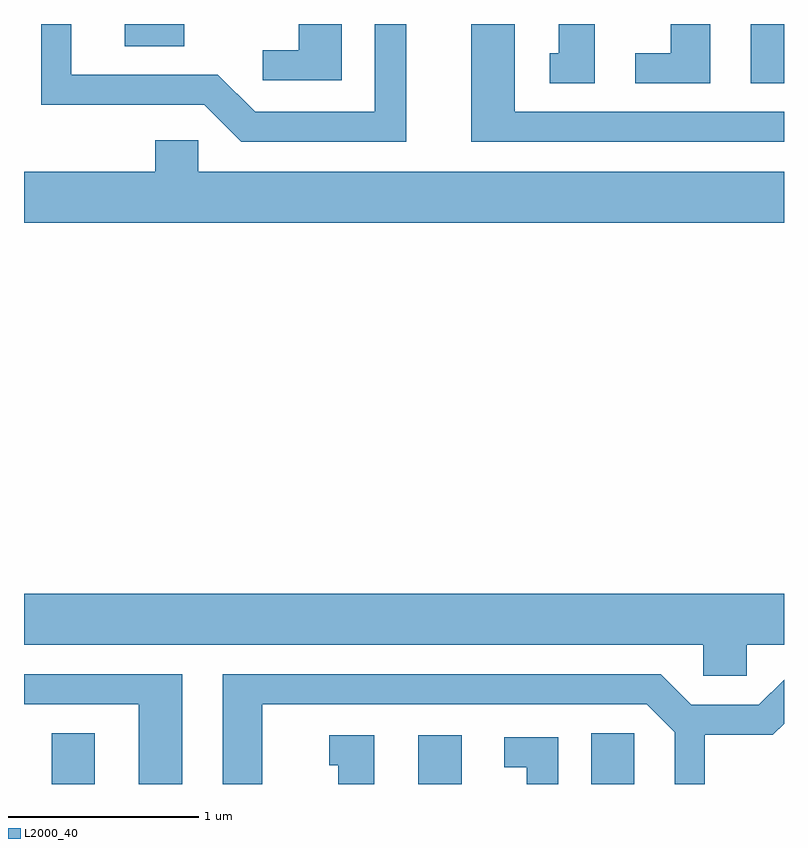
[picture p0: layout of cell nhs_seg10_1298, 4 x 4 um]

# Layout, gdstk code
import gdstk
lib = gdstk.Library(unit=1e-6, precision=1e-09)
def R(c, l, rs):  # rectangles x0, y0, x1, y1
    for r in rs: c.add(gdstk.rectangle(r[:2], r[2:], *l))
def P(c, l, *ps):  # polygons
    for p in ps: c.add(gdstk.Polygon(p, *l))
L2000_40 = (2000, 40)

nhs_seg10_1298 = lib.new_cell('nhs_seg10_1298')
R(nhs_seg10_1298, L2000_40, [(223.756,2106.522,223.984,2106.789), (225.686,2106.522,225.914,2106.779), (226.596,2106.522,226.824,2106.789), (227.436,2110.211,227.611,2110.522), (224.141,2110.406,224.454,2110.522)])
P(nhs_seg10_1298, L2000_40, [(226.614,2110.522),(226.426,2110.522),(226.426,2110.369),(226.378,2110.369),(226.378,2110.211),(226.614,2110.211)],
  [(225.624,2110.522),(225.456,2110.522),(225.456,2110.059),(224.827,2110.059),(224.632,2110.254),(223.859,2110.254),(223.859,2110.522),(223.701,2110.522),(223.701,2110.096),(224.559,2110.096),(224.754,2109.901),(225.624,2109.901)],
  [(225.284,2110.522),(225.056,2110.522),(225.056,2110.384),(224.868,2110.384),(224.868,2110.226),(225.284,2110.226)],
  [(227.611,2110.059),(226.194,2110.059),(226.194,2110.522),(225.966,2110.522),(225.966,2109.901),(227.611,2109.901)],
  [(227.224,2110.522),(227.016,2110.522),(227.016,2110.369),(226.828,2110.369),(226.828,2110.211),(227.224,2110.211)],
  [(227.611,2109.744),(224.529,2109.744),(224.529,2109.909),(224.301,2109.909),(224.301,2109.744),(223.611,2109.744),(223.611,2109.476),(227.611,2109.476)],
  [(227.414,2107.256),(227.611,2107.256),(227.611,2107.524),(223.611,2107.524),(223.611,2107.256),(227.186,2107.256),(227.186,2107.091),(227.414,2107.091)],
  [(224.864,2106.941),(226.889,2106.941),(227.036,2106.794),(227.036,2106.522),(227.194,2106.522),(227.194,2106.781),(227.552,2106.781),(227.611,2106.84),(227.611,2107.071),(227.479,2106.939),(227.122,2106.939),(226.962,2107.099),(224.656,2107.099),(224.656,2106.522),(224.864,2106.522)],
  [(224.444,2107.099),(223.611,2107.099),(223.611,2106.941),(224.216,2106.941),(224.216,2106.522),(224.444,2106.522)],
  [(225.454,2106.779),(225.218,2106.779),(225.218,2106.621),(225.266,2106.621),(225.266,2106.522),(225.454,2106.522)],
  [(226.424,2106.769),(226.138,2106.769),(226.138,2106.611),(226.256,2106.611),(226.256,2106.522),(226.424,2106.522)])

lib.write_gds('nhs_seg10_1298.gds')
